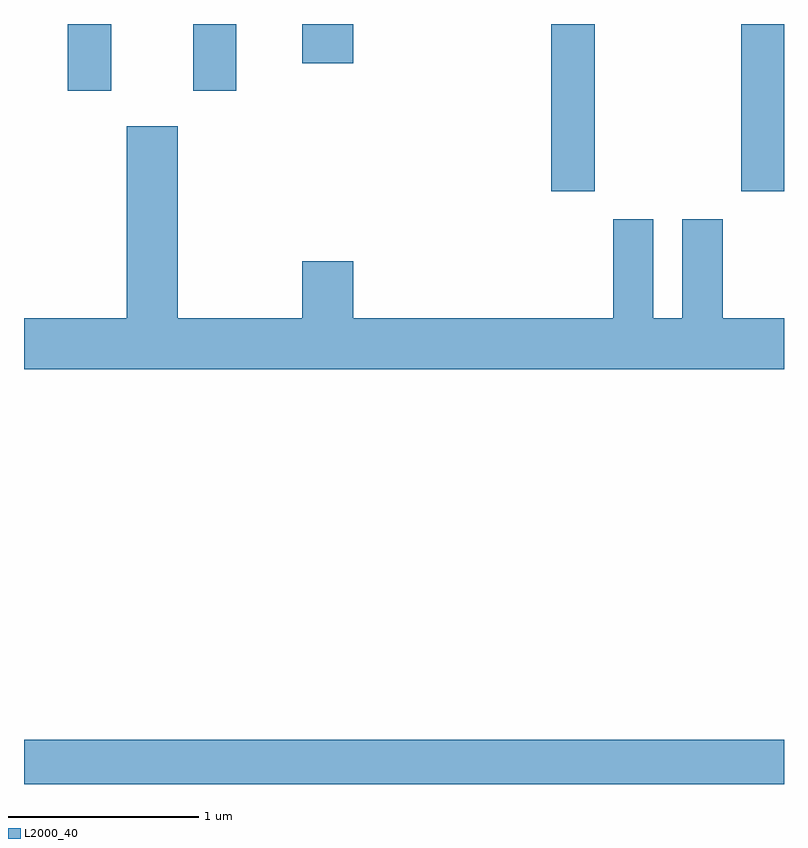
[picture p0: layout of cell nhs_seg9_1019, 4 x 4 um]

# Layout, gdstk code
import gdstk
lib = gdstk.Library(unit=1e-6, precision=1e-09)
def R(c, l, rs):  # rectangles x0, y0, x1, y1
    for r in rs: c.add(gdstk.rectangle(r[:2], r[2:], *l))
def P(c, l, *ps):  # polygons
    for p in ps: c.add(gdstk.Polygon(p, *l))
L2000_40 = (2000, 40)

nhs_seg9_1019 = lib.new_cell('nhs_seg9_1019')
R(nhs_seg9_1019, L2000_40, [(213.611,2078.432,217.611,2078.664), (216.386,2081.551,216.614,2082.432), (217.386,2081.551,217.611,2082.432), (213.841,2082.081,214.069,2082.432), (214.501,2082.081,214.729,2082.432), (215.076,2082.226,215.344,2082.432)])
P(nhs_seg9_1019, L2000_40, [(217.611,2080.884),(217.289,2080.884),(217.289,2081.404),(217.076,2081.404),(217.076,2080.884),(216.924,2080.884),(216.924,2081.404),(216.711,2081.404),(216.711,2080.884),(215.344,2080.884),(215.344,2081.184),(215.076,2081.184),(215.076,2080.884),(214.419,2080.884),(214.419,2081.894),(214.151,2081.894),(214.151,2080.884),(213.611,2080.884),(213.611,2080.616),(217.611,2080.616)])

lib.write_gds('nhs_seg9_1019.gds')
